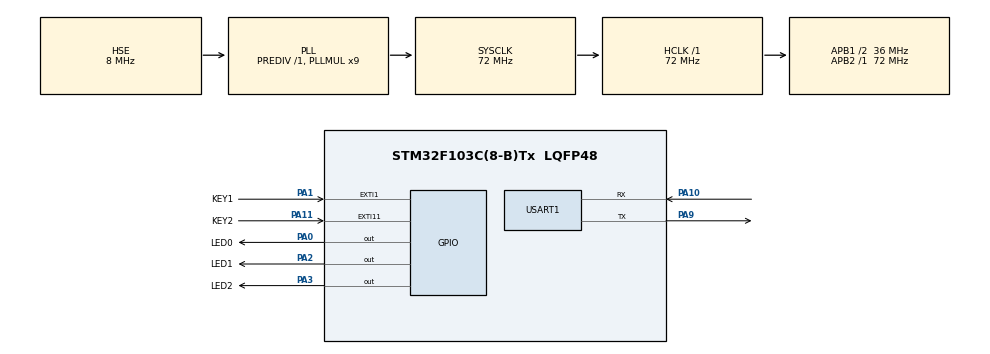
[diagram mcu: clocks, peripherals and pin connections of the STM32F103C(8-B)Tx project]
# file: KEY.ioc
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Dma.Request0=USART1_TX
Dma.USART1_TX.0.Direction=DMA_MEMORY_TO_PERIPH
Dma.USART1_TX.0.Instance=DMA1_Channel4
Dma.USART1_TX.0.MemDataAlignment=DMA_MDATAALIGN_BYTE
Dma.USART1_TX.0.MemInc=DMA_MINC_ENABLE
Dma.USART1_TX.0.Mode=DMA_NORMAL
Dma.USART1_TX.0.PeriphDataAlignment=DMA_PDATAALIGN_BYTE
Dma.USART1_TX.0.PeriphInc=DMA_PINC_DISABLE
Dma.USART1_TX.0.Priority=DMA_PRIORITY_LOW
Mcu.Family=STM32F1
Mcu.Name=STM32F103C(8-B)Tx
Mcu.Package=LQFP48
NVIC.DMA1_Channel4_IRQn=true\:0\:0\:false\:false\:true\:false\:true\:true
NVIC.EXTI15_10_IRQn=true\:0\:0\:false\:false\:true\:true\:true\:true
NVIC.EXTI1_IRQn=true\:0\:0\:false\:false\:true\:true\:true\:true
NVIC.PriorityGroup=NVIC_PRIORITYGROUP_4
NVIC.USART1_IRQn=true\:0\:0\:false\:false\:true\:true\:true\:true
PA0-WKUP.GPIO_Label=LED0
PA0-WKUP.Signal=GPIO_Output
PA1.GPIO_Label=KEY1
PA1.GPIO_ModeDefaultEXTI=GPIO_MODE_IT_FALLING
PA1.GPIO_PuPd=GPIO_PULLUP
PA1.Signal=GPXTI1
PA10.Mode=Asynchronous
PA10.Signal=USART1_RX
PA11.GPIO_Label=KEY2
PA11.GPIO_ModeDefaultEXTI=GPIO_MODE_IT_FALLING
PA11.GPIO_PuPd=GPIO_PULLUP
PA11.Signal=GPXTI11
PA13.Mode=Serial_Wire
PA13.Signal=SYS_JTMS-SWDIO
PA14.Mode=Serial_Wire
PA14.Signal=SYS_JTCK-SWCLK
PA2.GPIO_Label=LED1
PA2.Signal=GPIO_Output
PA3.GPIO_Label=LED2
PA3.Signal=GPIO_Output
PA9.Mode=Asynchronous
PA9.Signal=USART1_TX
PC14-OSC32_IN.Mode=LSE-External-Oscillator
PC14-OSC32_IN.Signal=RCC_OSC32_IN
PC15-OSC32_OUT.Mode=LSE-External-Oscillator
PC15-OSC32_OUT.Signal=RCC_OSC32_OUT
PD0-OSC_IN.Mode=HSE-External-Oscillator
PD0-OSC_IN.Signal=RCC_OSC_IN
PD1-OSC_OUT.Mode=HSE-External-Oscillator
PD1-OSC_OUT.Signal=RCC_OSC_OUT
ProjectManager.HeapSize=0x200
ProjectManager.StackSize=0x400
ProjectManager.TargetToolchain=STM32CubeIDE
RCC.AHBFreq_Value=72000000
RCC.APB1CLKDivider=RCC_HCLK_DIV2
RCC.APB1Freq_Value=36000000
RCC.APB1TimFreq_Value=72000000
RCC.APB2Freq_Value=72000000
RCC.APB2TimFreq_Value=72000000
RCC.HCLKFreq_Value=72000000
RCC.PLLMUL=RCC_PLL_MUL9
RCC.PLLSourceVirtual=RCC_PLLSOURCE_HSE
RCC.SYSCLKFreq_VALUE=72000000
RCC.SYSCLKSource=RCC_SYSCLKSOURCE_PLLCLK
RCC.USBFreq_Value=72000000
USART1.VirtualMode=VM_ASYNC
board=custom

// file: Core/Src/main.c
/* USER CODE BEGIN Header */
/**
  ******************************************************************************
  * @file           : main.c
  * @brief          : Main program body
  ******************************************************************************
  * @attention
  *
  * Copyright (c) 2026 STMicroelectronics.
  * All rights reserved.
  *
  * This software is licensed under terms that can be found in the LICENSE file
  * in the root directory of this software component.
  * If no LICENSE file comes with this software, it is provided AS-IS.
  *
  ******************************************************************************
  */
/* USER CODE END Header */
#include "main.h"

/* USER CODE BEGIN Includes */
#include "OLED.h"
#include "stdio.h"
/* USER CODE END Includes */

/* USER CODE BEGIN PTD */
typedef struct __attribute__((packed)) {
  uint8_t  header;
  uint8_t  run;
  uint8_t  dir;
  uint16_t interval_ms;
  uint8_t  checksum;
} CmdPacket;
/* USER CODE END PTD */

UART_HandleTypeDef huart1;
DMA_HandleTypeDef hdma_usart1_tx;

/* USER CODE BEGIN PV */
CmdPacket rx_packet;
volatile uint8_t packet_ready = 0;
/* USER CODE END PV */

void SystemClock_Config(void);
static void MX_GPIO_Init(void);
static void MX_DMA_Init(void);
static void MX_USART1_UART_Init(void);

/* USER CODE BEGIN 0 */
static uint8_t  led_idx  = 0;     /* 当前亮第几颗 0/1/2 */
static uint8_t  run_flag = 1;     /* 1 运行 0 暂停 */
static uint8_t  dir_flag = 0;     /* 0 正向 1 反向 */
static uint16_t step_ms  = 500;   /* 切换间隔 */

static void LED_Show(uint8_t idx)
{
  HAL_GPIO_WritePin(LED0_GPIO_Port, LED0_Pin, (idx == 0) ? GPIO_PIN_SET : GPIO_PIN_RESET);
  HAL_GPIO_WritePin(LED1_GPIO_Port, LED1_Pin, (idx == 1) ? GPIO_PIN_SET : GPIO_PIN_RESET);
  HAL_GPIO_WritePin(LED2_GPIO_Port, LED2_Pin, (idx == 2) ? GPIO_PIN_SET : GPIO_PIN_RESET);
}

/* 中断只记录，不处理 */
volatile uint8_t  key_dir_evt   = 0;
volatile uint8_t  key_pause_evt = 0;
static void OLED_Refresh(void)
{
  char line[17];

  snprintf(line, sizeof(line), "STATE: %-4s", run_flag ? "RUN" : "PAUS");
  OLED_ShowString(1, 1, line);

  snprintf(line, sizeof(line), "DIR:   %-4s", dir_flag ? "REV" : "FWD");
  OLED_ShowString(2, 1, line);

  snprintf(line, sizeof(line), "STEP: %04u", (unsigned)step_ms);
  OLED_ShowString(3, 1, line);

  snprintf(line, sizeof(line), "LED: %u   ", (unsigned)(led_idx + 1));
  OLED_ShowString(4, 1, line);
}
static char tx_buf[64];
static volatile uint8_t tx_busy = 0;

static void UART_SendStatus(void)
{
  if (tx_busy) return;

  int n = snprintf(tx_buf, sizeof(tx_buf),
                   "STATE=%s,DIR=%s,STEP=%u,LED=%u\r\n",
                   run_flag ? "RUN"   : "PAUSE",
                   dir_flag ? "REV"   : "FWD",
                   (unsigned)step_ms,
                   (unsigned)(led_idx + 1));

  tx_busy = 1;
  HAL_UART_Transmit_DMA(&huart1, (uint8_t *)tx_buf, (uint16_t)n);
  __HAL_DMA_DISABLE_IT(huart1.hdmatx, DMA_IT_HT);   /* 不需要"发到一半"中断 */

}

/* USER CODE END 0 */

int main(void)
{

  /* MCU Configuration--------------------------------------------------------*/

  /* Reset of all peripherals, Initializes the Flash interface and the Systick. */
  HAL_Init();

  /* Configure the system clock */
  SystemClock_Config();

  /* Initialize all configured peripherals */
  MX_GPIO_Init();
  MX_DMA_Init();
  MX_USART1_UART_Init();
  /* USER CODE BEGIN 2 */
  LED_Show(led_idx);
  /* 串口测试 */
  uint8_t hello[] = "HELLO\r\n";
  HAL_UART_Transmit(&huart1, hello, sizeof(hello) - 1, 100);

  /* OLED 测试 */
  OLED_Init();
  OLED_Refresh();

  HAL_UART_Receive_IT(&huart1, (uint8_t *)&rx_packet, sizeof(rx_packet));
  /* USER CODE END 2 */

  /* Infinite loop */
  /* USER CODE BEGIN WHILE */
  uint32_t last_step = 0;
  while (1)
  {
    /* ---- 串口数据包 ---- */
    if (packet_ready)
    {
      CmdPacket p = rx_packet;      /* 先拷出来，避免接收新包时被改 */
      packet_ready = 0;

      const uint8_t *b = (const uint8_t *)&p;
      uint8_t expect = (uint8_t)(b[0] + b[1] + b[2] + b[3] + b[4]);

      if (p.header == 0xAA &&
          p.checksum == expect &&
          p.run <= 1 &&
          p.dir <= 1 &&
          p.interval_ms >= 100 &&
          p.interval_ms <= 2000)
      {
        run_flag = p.run;
        dir_flag = p.dir;
        step_ms  = p.interval_ms;
        OLED_Refresh();
        UART_SendStatus();
      }

      /* 必须重新启动，否则只能收一包 */
      HAL_UART_Receive_IT(&huart1, (uint8_t *)&rx_packet, sizeof(rx_packet));
    }

    /* ---- 方向键 ---- */
    if (key_dir_evt)
    {
      key_dir_evt = 0;
      HAL_Delay(20);
      if (HAL_GPIO_ReadPin(GPIOA, GPIO_PIN_1) == GPIO_PIN_RESET)
      {
        dir_flag = !dir_flag;
        OLED_Refresh();
        UART_SendStatus();
      }
    }

    /* ---- 暂停键 ---- */
    if (key_pause_evt)
    {
      key_pause_evt = 0;
      HAL_Delay(20);
      if (HAL_GPIO_ReadPin(GPIOA, GPIO_PIN_11) == GPIO_PIN_RESET)
      {
        run_flag = !run_flag;
        OLED_Refresh();
        UART_SendStatus();
      }
    }

    /* ---- 流水灯推进（非阻塞）---- */
    if (run_flag && (HAL_GetTick() - last_step >= step_ms))
    {
      last_step = HAL_GetTick();
      led_idx = (dir_flag == 0) ? ((led_idx + 1) % 3)
                                : ((led_idx + 2) % 3);
      LED_Show(led_idx);
      OLED_Refresh();
    }
    /* USER CODE END WHILE */

  }
}

void SystemClock_Config(void)
{
  RCC_OscInitTypeDef RCC_OscInitStruct = {0};
  RCC_ClkInitTypeDef RCC_ClkInitStruct = {0};

  /** Initializes the RCC Oscillators according to the specified parameters
  * in the RCC_OscInitTypeDef structure.
  */
  RCC_OscInitStruct.OscillatorType = RCC_OSCILLATORTYPE_HSE;
  RCC_OscInitStruct.HSEState = RCC_HSE_ON;
  RCC_OscInitStruct.HSEPredivValue = RCC_HSE_PREDIV_DIV1;
  RCC_OscInitStruct.HSIState = RCC_HSI_ON;
  RCC_OscInitStruct.PLL.PLLState = RCC_PLL_ON;
  RCC_OscInitStruct.PLL.PLLSource = RCC_PLLSOURCE_HSE;
  RCC_OscInitStruct.PLL.PLLMUL = RCC_PLL_MUL9;
  if (HAL_RCC_OscConfig(&RCC_OscInitStruct) != HAL_OK)
  {
    Error_Handler();
  }

  /** Initializes the CPU, AHB and APB buses clocks
  */
  RCC_ClkInitStruct.ClockType = RCC_CLOCKTYPE_HCLK|RCC_CLOCKTYPE_SYSCLK
                              |RCC_CLOCKTYPE_PCLK1|RCC_CLOCKTYPE_PCLK2;
  RCC_ClkInitStruct.SYSCLKSource = RCC_SYSCLKSOURCE_PLLCLK;
  RCC_ClkInitStruct.AHBCLKDivider = RCC_SYSCLK_DIV1;
  RCC_ClkInitStruct.APB1CLKDivider = RCC_HCLK_DIV2;
  RCC_ClkInitStruct.APB2CLKDivider = RCC_HCLK_DIV1;

  if (HAL_RCC_ClockConfig(&RCC_ClkInitStruct, FLASH_LATENCY_2) != HAL_OK)
  {
    Error_Handler();
  }
}

static void MX_USART1_UART_Init(void)
{

  huart1.Instance = USART1;
  huart1.Init.BaudRate = 115200;
  huart1.Init.WordLength = UART_WORDLENGTH_8B;
  huart1.Init.StopBits = UART_STOPBITS_1;
  huart1.Init.Parity = UART_PARITY_NONE;
  huart1.Init.Mode = UART_MODE_TX_RX;
  huart1.Init.HwFlowCtl = UART_HWCONTROL_NONE;
  huart1.Init.OverSampling = UART_OVERSAMPLING_16;
  if (HAL_UART_Init(&huart1) != HAL_OK)
  {
    Error_Handler();
  }

}

static void MX_DMA_Init(void)
{

  /* DMA controller clock enable */
  __HAL_RCC_DMA1_CLK_ENABLE();

  /* DMA interrupt init */
  /* DMA1_Channel4_IRQn interrupt configuration */
  HAL_NVIC_SetPriority(DMA1_Channel4_IRQn, 0, 0);
  HAL_NVIC_EnableIRQ(DMA1_Channel4_IRQn);

}

static void MX_GPIO_Init(void)
{
  GPIO_InitTypeDef GPIO_InitStruct = {0};

  /* GPIO Ports Clock Enable */
  __HAL_RCC_GPIOC_CLK_ENABLE();
  __HAL_RCC_GPIOD_CLK_ENABLE();
  __HAL_RCC_GPIOA_CLK_ENABLE();

  /*Configure GPIO pin Output Level */
  HAL_GPIO_WritePin(GPIOA, LED0_Pin|LED1_Pin|LED2_Pin, GPIO_PIN_RESET);

  /*Configure GPIO pins : LED0_Pin LED1_Pin LED2_Pin */
  GPIO_InitStruct.Pin = LED0_Pin|LED1_Pin|LED2_Pin;
  GPIO_InitStruct.Mode = GPIO_MODE_OUTPUT_PP;
  GPIO_InitStruct.Pull = GPIO_NOPULL;
  GPIO_InitStruct.Speed = GPIO_SPEED_FREQ_LOW;
  HAL_GPIO_Init(GPIOA, &GPIO_InitStruct);

  /*Configure GPIO pins : KEY1_Pin KEY2_Pin */
  GPIO_InitStruct.Pin = KEY1_Pin|KEY2_Pin;
  GPIO_InitStruct.Mode = GPIO_MODE_IT_FALLING;
  GPIO_InitStruct.Pull = GPIO_PULLUP;
  HAL_GPIO_Init(GPIOA, &GPIO_InitStruct);

  /* EXTI interrupt init*/
  HAL_NVIC_SetPriority(EXTI1_IRQn, 0, 0);
  HAL_NVIC_EnableIRQ(EXTI1_IRQn);

  HAL_NVIC_SetPriority(EXTI15_10_IRQn, 0, 0);
  HAL_NVIC_EnableIRQ(EXTI15_10_IRQn);

}

/* USER CODE BEGIN 4 */
void HAL_GPIO_EXTI_Callback(uint16_t GPIO_Pin)
{
  if (GPIO_Pin == GPIO_PIN_1)  { key_dir_evt   = 1; }
  if (GPIO_Pin == GPIO_PIN_11) { key_pause_evt = 1; }
}
  void HAL_UART_RxCpltCallback(UART_HandleTypeDef *huart)
  {
    if (huart->Instance == USART1)
    {
      packet_ready = 1;
    }
  }
void HAL_UART_TxCpltCallback(UART_HandleTypeDef *huart)
{
  if (huart->Instance == USART1)
  {
    tx_busy = 0;
  }
}
/* USER CODE END 4 */

void Error_Handler(void)
{
  __disable_irq();
  while (1)
  {
  }
}
